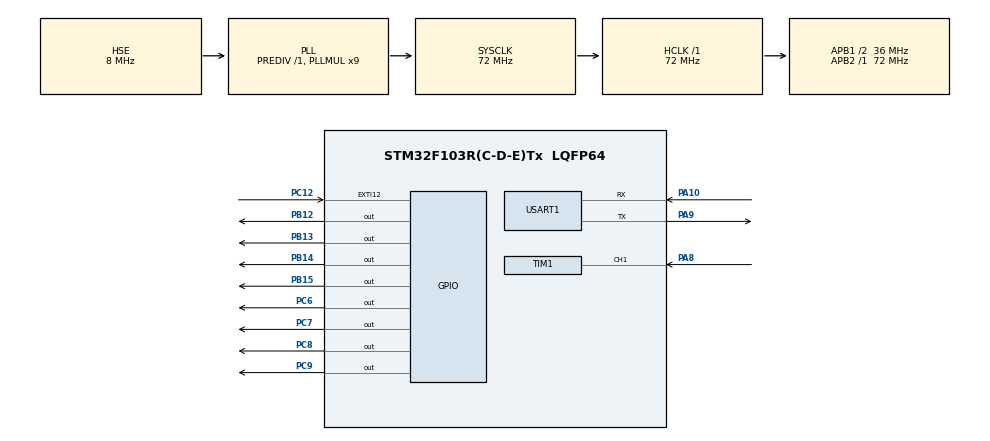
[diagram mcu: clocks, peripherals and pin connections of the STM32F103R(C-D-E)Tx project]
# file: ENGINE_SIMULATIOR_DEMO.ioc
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Mcu.Family=STM32F1
Mcu.Name=STM32F103R(C-D-E)Tx
Mcu.Package=LQFP64
NVIC.EXTI15_10_IRQn=true\:0\:0\:false\:false\:true\:true\:true\:true
NVIC.PriorityGroup=NVIC_PRIORITYGROUP_4
NVIC.TIM1_CC_IRQn=true\:2\:0\:true\:false\:true\:true\:true\:true
PA10.Mode=Asynchronous
PA10.Signal=USART1_RX
PA13.Mode=Serial_Wire
PA13.Signal=SYS_JTMS-SWDIO
PA14.Mode=Serial_Wire
PA14.Signal=SYS_JTCK-SWCLK
PA8.GPIO_PuPd=GPIO_NOPULL
PA8.Signal=S_TIM1_CH1
PA9.Mode=Asynchronous
PA9.Signal=USART1_TX
PB12.Signal=GPIO_Output
PB13.Signal=GPIO_Output
PB14.Signal=GPIO_Output
PB15.Signal=GPIO_Output
PC12.GPIO_ModeDefaultEXTI=GPIO_MODE_IT_RISING
PC12.GPIO_PuPd=GPIO_NOPULL
PC12.Signal=GPXTI12
PC6.Signal=GPIO_Output
PC7.Signal=GPIO_Output
PC8.Signal=GPIO_Output
PC9.Signal=GPIO_Output
PD0-OSC_IN.Mode=HSE-External-Oscillator
PD0-OSC_IN.Signal=RCC_OSC_IN
PD1-OSC_OUT.Mode=HSE-External-Oscillator
PD1-OSC_OUT.Signal=RCC_OSC_OUT
ProjectManager.HeapSize=0x200
ProjectManager.StackSize=0x400
ProjectManager.TargetToolchain=STM32CubeIDE
RCC.AHBFreq_Value=72000000
RCC.APB1CLKDivider=RCC_HCLK_DIV2
RCC.APB1Freq_Value=36000000
RCC.APB1TimFreq_Value=72000000
RCC.APB2Freq_Value=72000000
RCC.APB2TimFreq_Value=72000000
RCC.HCLKFreq_Value=72000000
RCC.PLLMUL=RCC_PLL_MUL9
RCC.PLLSourceVirtual=RCC_PLLSOURCE_HSE
RCC.SYSCLKFreq_VALUE=72000000
RCC.SYSCLKSource=RCC_SYSCLKSOURCE_PLLCLK
RCC.USBFreq_Value=72000000
SH.S_TIM1_CH1.0=TIM1_CH1,Input_Capture1_from_TI1
TIM1.Channel-Input_Capture1_from_TI1=TIM_CHANNEL_1
TIM1.CounterMode=TIM_COUNTERMODE_UP
TIM1.ICFilter_CH1=4
TIM1.ICPolarity_CH1=TIM_INPUTCHANNELPOLARITY_RISING
TIM1.Prescaler=71
USART1.VirtualMode=VM_ASYNC
VP_TIM1_VS_ClockSourceINT.Mode=Internal
board=custom

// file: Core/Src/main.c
/* USER CODE BEGIN Header */
/**
  ******************************************************************************
  * @file           : main.c
  * @brief          : Main program body
  ******************************************************************************
  * @attention
  *
  * Copyright (c) 2026 STMicroelectronics.
  * All rights reserved.
  *
  * This software is licensed under terms that can be found in the LICENSE file
  * in the root directory of this software component.
  * If no LICENSE file comes with this software, it is provided AS-IS.
  *
  ******************************************************************************
  */
/* USER CODE END Header */
#include "main.h"
#include <stdio.h>
#include <string.h>

/* USER CODE BEGIN PD */
#define TEETH_TOTAL       60
#define TEETH_PER_CYCLE   120
#define CMP_OFFSET_TEETH  15
#define TOOTH_DEG         6

#define MISSING_RATIO     2.5f
#define MIN_PERIOD_US     50
#define MAX_PERIOD_US     20000
/* USER CODE END PD */

TIM_HandleTypeDef htim1;

UART_HandleTypeDef huart1;

/* USER CODE BEGIN PV */
volatile uint32_t last_capture = 0;
volatile uint32_t avg_period = 0;
volatile uint32_t rpm = 0;

volatile uint8_t  tooth_index = 0;
volatile uint8_t  synced = 0;

volatile uint8_t  engine_phase = 0;
volatile uint8_t  phase_locked = 0;
volatile uint8_t  frame_ready = 0;
volatile uint32_t frame_rpm = 0;
volatile uint16_t frame_angle = 0;
volatile uint8_t  frame_spark = 0;
volatile uint8_t  frame_inj = 0;
volatile uint32_t last_tooth_time = 0;
volatile uint32_t tooth_period = 0;
/* USER CODE END PV */

void SystemClock_Config(void);
static void MX_GPIO_Init(void);
static void MX_TIM1_Init(void);
static void MX_USART1_UART_Init(void);
/* USER CODE BEGIN PFP */
void update_interpolated_angle(void);
/* USER CODE END PFP */

int main(void)
{

  /* MCU Configuration--------------------------------------------------------*/

  /* Reset of all peripherals, Initializes the Flash interface and the Systick. */
  HAL_Init();

  /* Configure the system clock */
  SystemClock_Config();

  /* Initialize all configured peripherals */
  MX_GPIO_Init();
  MX_TIM1_Init();
  MX_USART1_UART_Init();
  /* USER CODE BEGIN 2 */
  HAL_TIM_Base_Start(&htim1);
  HAL_TIM_IC_Start_IT(&htim1, TIM_CHANNEL_1);
  /* USER CODE END 2 */

  /* Infinite loop */
  while (1)
  {
	  if(frame_ready)
	      {
	          frame_ready = 0;

	          char msg[80];
	          sprintf(msg,
	                  "R=%lu,A=%u,S=%u,I=%u\r\n",
	                  frame_rpm,
	                  frame_angle,
	                  frame_spark,
	                  frame_inj);

	          HAL_UART_Transmit(&huart1,
	                            (uint8_t*)msg,
	                            strlen(msg),
	                            5);
	      }
  }
}

void SystemClock_Config(void)
{
  RCC_OscInitTypeDef RCC_OscInitStruct = {0};
  RCC_ClkInitTypeDef RCC_ClkInitStruct = {0};

  /** Initializes the RCC Oscillators according to the specified parameters
  * in the RCC_OscInitTypeDef structure.
  */
  RCC_OscInitStruct.OscillatorType = RCC_OSCILLATORTYPE_HSE;
  RCC_OscInitStruct.HSEState = RCC_HSE_ON;
  RCC_OscInitStruct.HSEPredivValue = RCC_HSE_PREDIV_DIV1;
  RCC_OscInitStruct.HSIState = RCC_HSI_ON;
  RCC_OscInitStruct.PLL.PLLState = RCC_PLL_ON;
  RCC_OscInitStruct.PLL.PLLSource = RCC_PLLSOURCE_HSE;
  RCC_OscInitStruct.PLL.PLLMUL = RCC_PLL_MUL9;
  if (HAL_RCC_OscConfig(&RCC_OscInitStruct) != HAL_OK)
  {
    Error_Handler();
  }

  /** Initializes the CPU, AHB and APB buses clocks
  */
  RCC_ClkInitStruct.ClockType = RCC_CLOCKTYPE_HCLK|RCC_CLOCKTYPE_SYSCLK
                              |RCC_CLOCKTYPE_PCLK1|RCC_CLOCKTYPE_PCLK2;
  RCC_ClkInitStruct.SYSCLKSource = RCC_SYSCLKSOURCE_PLLCLK;
  RCC_ClkInitStruct.AHBCLKDivider = RCC_SYSCLK_DIV1;
  RCC_ClkInitStruct.APB1CLKDivider = RCC_HCLK_DIV2;
  RCC_ClkInitStruct.APB2CLKDivider = RCC_HCLK_DIV1;

  if (HAL_RCC_ClockConfig(&RCC_ClkInitStruct, FLASH_LATENCY_2) != HAL_OK)
  {
    Error_Handler();
  }
}

static void MX_TIM1_Init(void)
{

  TIM_ClockConfigTypeDef sClockSourceConfig = {0};
  TIM_MasterConfigTypeDef sMasterConfig = {0};
  TIM_IC_InitTypeDef sConfigIC = {0};

  htim1.Instance = TIM1;
  htim1.Init.Prescaler = 71;
  htim1.Init.CounterMode = TIM_COUNTERMODE_UP;
  htim1.Init.Period = 65535;
  htim1.Init.ClockDivision = TIM_CLOCKDIVISION_DIV1;
  htim1.Init.RepetitionCounter = 0;
  htim1.Init.AutoReloadPreload = TIM_AUTORELOAD_PRELOAD_DISABLE;
  if (HAL_TIM_Base_Init(&htim1) != HAL_OK)
  {
    Error_Handler();
  }
  sClockSourceConfig.ClockSource = TIM_CLOCKSOURCE_INTERNAL;
  if (HAL_TIM_ConfigClockSource(&htim1, &sClockSourceConfig) != HAL_OK)
  {
    Error_Handler();
  }
  if (HAL_TIM_IC_Init(&htim1) != HAL_OK)
  {
    Error_Handler();
  }
  sMasterConfig.MasterOutputTrigger = TIM_TRGO_RESET;
  sMasterConfig.MasterSlaveMode = TIM_MASTERSLAVEMODE_DISABLE;
  if (HAL_TIMEx_MasterConfigSynchronization(&htim1, &sMasterConfig) != HAL_OK)
  {
    Error_Handler();
  }
  sConfigIC.ICPolarity = TIM_INPUTCHANNELPOLARITY_RISING;
  sConfigIC.ICSelection = TIM_ICSELECTION_DIRECTTI;
  sConfigIC.ICPrescaler = TIM_ICPSC_DIV1;
  sConfigIC.ICFilter = 4;
  if (HAL_TIM_IC_ConfigChannel(&htim1, &sConfigIC, TIM_CHANNEL_1) != HAL_OK)
  {
    Error_Handler();
  }

}

static void MX_USART1_UART_Init(void)
{

  huart1.Instance = USART1;
  huart1.Init.BaudRate = 115200;
  huart1.Init.WordLength = UART_WORDLENGTH_8B;
  huart1.Init.StopBits = UART_STOPBITS_1;
  huart1.Init.Parity = UART_PARITY_NONE;
  huart1.Init.Mode = UART_MODE_TX_RX;
  huart1.Init.HwFlowCtl = UART_HWCONTROL_NONE;
  huart1.Init.OverSampling = UART_OVERSAMPLING_16;
  if (HAL_UART_Init(&huart1) != HAL_OK)
  {
    Error_Handler();
  }

}

static void MX_GPIO_Init(void)
{
  GPIO_InitTypeDef GPIO_InitStruct = {0};

  /* GPIO Ports Clock Enable */
  __HAL_RCC_GPIOD_CLK_ENABLE();
  __HAL_RCC_GPIOB_CLK_ENABLE();
  __HAL_RCC_GPIOC_CLK_ENABLE();
  __HAL_RCC_GPIOA_CLK_ENABLE();

  /*Configure GPIO pin Output Level */
  HAL_GPIO_WritePin(GPIOB, GPIO_PIN_12|GPIO_PIN_13|GPIO_PIN_14|GPIO_PIN_15, GPIO_PIN_RESET);

  /*Configure GPIO pin Output Level */
  HAL_GPIO_WritePin(GPIOC, GPIO_PIN_6|GPIO_PIN_7|GPIO_PIN_8|GPIO_PIN_9, GPIO_PIN_RESET);

  /*Configure GPIO pins : PB12 PB13 PB14 PB15 */
  GPIO_InitStruct.Pin = GPIO_PIN_12|GPIO_PIN_13|GPIO_PIN_14|GPIO_PIN_15;
  GPIO_InitStruct.Mode = GPIO_MODE_OUTPUT_PP;
  GPIO_InitStruct.Pull = GPIO_NOPULL;
  GPIO_InitStruct.Speed = GPIO_SPEED_FREQ_LOW;
  HAL_GPIO_Init(GPIOB, &GPIO_InitStruct);

  /*Configure GPIO pins : PC6 PC7 PC8 PC9 */
  GPIO_InitStruct.Pin = GPIO_PIN_6|GPIO_PIN_7|GPIO_PIN_8|GPIO_PIN_9;
  GPIO_InitStruct.Mode = GPIO_MODE_OUTPUT_PP;
  GPIO_InitStruct.Pull = GPIO_NOPULL;
  GPIO_InitStruct.Speed = GPIO_SPEED_FREQ_LOW;
  HAL_GPIO_Init(GPIOC, &GPIO_InitStruct);

  /*Configure GPIO pin : PC12 */
  GPIO_InitStruct.Pin = GPIO_PIN_12;
  GPIO_InitStruct.Mode = GPIO_MODE_IT_RISING;
  GPIO_InitStruct.Pull = GPIO_NOPULL;
  HAL_GPIO_Init(GPIOC, &GPIO_InitStruct);

  /* EXTI interrupt init*/
  HAL_NVIC_SetPriority(EXTI15_10_IRQn, 0, 0);
  HAL_NVIC_EnableIRQ(EXTI15_10_IRQn);

}

/* USER CODE BEGIN 4 */

/* ===================== MAP ===================== */

uint8_t get_spark_advance(uint32_t r)
{
    if(r < 800) return 10;
    else if(r < 1500) return 18;
    else if(r < 3000) return 25;
    else if(r < 5000) return 32;
    else return 36;
}

uint8_t get_injection_advance(uint32_t r)
{
    if(r < 1000) return 20;
    else if(r < 3000) return 30;
    else return 40;
}

/* ===================== CKP CALLBACK ===================== */
void HAL_TIM_IC_CaptureCallback(TIM_HandleTypeDef *htim)
{
    if(htim->Instance != TIM1) return;

    uint32_t now = HAL_TIM_ReadCapturedValue(htim, TIM_CHANNEL_1);
    uint32_t new_period = (uint16_t)(now - last_capture);

    if(new_period < MIN_PERIOD_US) return;
    if(new_period > MAX_PERIOD_US) return;

    /* ===== Missing tooth detect ===== */
    if(avg_period > 0 &&
       new_period > (uint32_t)(avg_period * MISSING_RATIO))
    {
        tooth_index = 0;
        synced = 1;

        /* TOGGLE PHASE TẠI MISSING TOOTH */
        if(phase_locked)
            engine_phase ^= 1;

        last_capture = now;
        return;
    }

    last_capture = now;

    /* ===== Period filter ===== */
    if(avg_period == 0)
        avg_period = new_period;
    else
        avg_period = (avg_period * 3 + new_period) / 4;

    rpm = 60000000UL / (avg_period * TEETH_TOTAL);

    if(!synced) return;

    /* ===== Tooth count ===== */
    tooth_index++;

    if(tooth_index >= TEETH_TOTAL)
        tooth_index = 0;

    /* ===== Compute 720° angle ===== */

    uint16_t global_tooth = tooth_index + engine_phase * 60;

    if(global_tooth >= CMP_OFFSET_TEETH)
        global_tooth -= CMP_OFFSET_TEETH;
    else
        global_tooth += (TEETH_PER_CYCLE - CMP_OFFSET_TEETH);

    uint16_t angle = global_tooth * TOOTH_DEG;

    /* ===== Spark & Injection ===== */

    uint8_t spark_mask = 0;
    uint8_t inj_mask = 0;

    uint16_t tdc[4] = {0,30,60,90};
    uint8_t firing[4] = {1,3,4,2};

    uint8_t adv_deg = get_spark_advance(rpm);
    uint8_t inj_adv_deg = get_injection_advance(rpm);

    for(int i=0;i<4;i++)
    {
        uint16_t tdc_angle = tdc[i] * TOOTH_DEG;

        uint16_t spark_angle =
            (tdc_angle + 720 - adv_deg) % 720;

        uint16_t intake_tdc = (tdc_angle + 360) % 720;

        uint16_t inj_angle =
            (intake_tdc + 720 - inj_adv_deg) % 720;

        if((angle >= spark_angle) &&
           (angle < (spark_angle + TOOTH_DEG)))
        {
            spark_mask = firing[i];
        }

        if((angle >= inj_angle) &&
           (angle < (inj_angle + TOOTH_DEG)))
        {
            inj_mask = firing[i];
        }
    }

    /* ===== Send only when event ===== */

    if(spark_mask || inj_mask)
    {
        frame_rpm   = rpm;
        frame_angle = angle;
        frame_spark = spark_mask;
        frame_inj   = inj_mask;
        frame_ready = 1;
    }
}
/* ================= CMP ================= */

void HAL_GPIO_EXTI_Callback(uint16_t GPIO_Pin)
{
    if(GPIO_Pin == GPIO_PIN_12)
    {
        if(!phase_locked)
        {
            engine_phase = 0;
            phase_locked = 1;
        }
    }
}
/* USER CODE END 4 */

void Error_Handler(void)
{
  __disable_irq();
  while (1)
  {
  }
}
